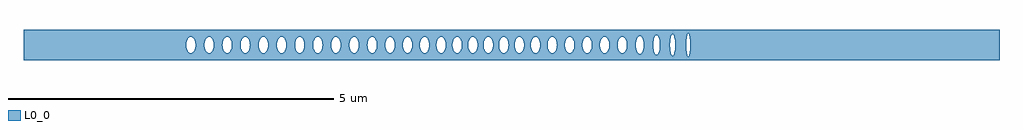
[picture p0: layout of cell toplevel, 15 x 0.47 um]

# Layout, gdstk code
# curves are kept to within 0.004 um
import gdstk
lib = gdstk.Library(unit=1e-6, precision=1e-09)
def P(c, l, *ps):  # polygons
    for p in ps: c.add(gdstk.Polygon(p, *l))
L0_0 = (0, 0)

toplevel = lib.new_cell('toplevel')
P(toplevel, L0_0, [(-4.441,0.016),(-4.431,0.068),(-4.404,0.112),(-4.404,0.234),(-7.5,0.234),(-7.5,-0.016),(-4.999,-0.016),(-4.996,0.039),(-4.985,0.075),(-4.962,0.112),(-4.927,0.128),(-4.9,0.119),(-4.877,0.093),(-4.859,0.047),(-4.855,-0.016),(-4.72,-0.016),(-4.718,0.032),(-4.707,0.075),(-4.683,0.112),(-4.648,0.128),(-4.621,0.119),(-4.602,0.098),(-4.587,0.068),(-4.576,0.016),(-4.579,-0.039),(-4.592,-0.081),(-4.621,-0.119),(-4.648,-0.128),(-4.675,-0.119),(-4.698,-0.093),(-4.712,-0.061),(-4.72,-0.016),(-4.855,-0.016),(-4.859,-0.047),(-4.877,-0.093),(-4.9,-0.119),(-4.927,-0.128),(-4.953,-0.119),(-4.973,-0.098),(-4.988,-0.068),(-4.999,-0.016),(-7.5,-0.016),(-7.5,-0.234),(-4.404,-0.234),(-4.404,-0.112),(-4.431,-0.068),(-4.441,-0.024)],
  [(-3.884,0.016),(-3.876,0.061),(-3.855,0.103),(-3.826,0.125),(-3.803,0.126),(-3.803,0.234),(-4.404,0.234),(-4.404,0.112),(-4.369,0.128),(-4.343,0.119),(-4.331,0.108),(-4.302,0.047),(-4.298,-0.016),(-4.163,-0.016),(-4.16,0.039),(-4.147,0.081),(-4.118,0.119),(-4.091,0.128),(-4.064,0.119),(-4.041,0.093),(-4.025,0.054),(-4.018,0),(-4.025,-0.054),(-4.041,-0.093),(-4.064,-0.119),(-4.091,-0.128),(-4.118,-0.119),(-4.137,-0.098),(-4.152,-0.068),(-4.163,-0.016),(-4.298,-0.016),(-4.308,-0.068),(-4.335,-0.112),(-4.369,-0.128),(-4.404,-0.112),(-4.404,-0.234),(-3.803,-0.234),(-3.803,-0.126),(-3.839,-0.119),(-3.862,-0.093),(-3.88,-0.047)],
  [(-3.803,0.234),(-3.803,0.126),(-3.777,0.112),(-3.756,0.081),(-3.743,0.039),(-3.74,-0.008),(-3.606,-0.008),(-3.601,0.047),(-3.583,0.093),(-3.56,0.119),(-3.534,0.128),(-3.507,0.119),(-3.487,0.098),(-3.472,0.068),(-3.461,0.008),(-3.466,-0.047),(-3.484,-0.093),(-3.507,-0.119),(-3.534,-0.128),(-3.56,-0.119),(-3.58,-0.098),(-3.595,-0.068),(-3.606,-0.008),(-3.74,-0.008),(-3.743,-0.039),(-3.759,-0.087),(-3.777,-0.112),(-3.803,-0.126),(-3.803,-0.234),(-3.185,-0.234),(-3.185,-0.035),(-3.196,-0.075),(-3.212,-0.103),(-3.228,-0.119),(-3.255,-0.128),(-3.282,-0.119),(-3.305,-0.093),(-3.321,-0.054),(-3.327,-0.016),(-3.325,0.032),(-3.314,0.075),(-3.294,0.108),(-3.269,0.125),(-3.241,0.125),(-3.216,0.108),(-3.196,0.075),(-3.185,0.032),(-3.185,0.234)],
  [(-2.478,-0.234),(-2.478,-0.075),(-2.492,0),(-2.478,0.074),(-2.478,0.234),(-3.185,0.234),(-3.183,-0.008),(-3.049,-0.008),(-3.044,0.047),(-3.026,0.093),(-3.003,0.119),(-2.976,0.128),(-2.942,0.112),(-2.918,0.075),(-2.906,0.032),(-2.905,-0.016),(-2.77,-0.016),(-2.767,0.039),(-2.754,0.081),(-2.733,0.112),(-2.698,0.128),(-2.671,0.119),(-2.648,0.093),(-2.63,0.047),(-2.625,0),(-2.63,-0.047),(-2.648,-0.093),(-2.671,-0.119),(-2.698,-0.128),(-2.724,-0.119),(-2.744,-0.098),(-2.759,-0.068),(-2.77,-0.016),(-2.905,-0.016),(-2.915,-0.068),(-2.93,-0.098),(-2.95,-0.119),(-2.976,-0.128),(-3.003,-0.119),(-3.023,-0.098),(-3.038,-0.068),(-3.049,-0.008),(-3.183,-0.008),(-3.185,-0.234)],
  [(-2.469,0.093),(-2.446,0.119),(-2.419,0.128),(-2.406,0.125),(-2.38,0.108),(-2.363,0.081),(-2.35,0.039),(-2.347,-0.008),(-2.214,-0.008),(-2.209,0.047),(-2.188,0.098),(-2.164,0.121),(-2.141,0.128),(-2.128,0.125),(-2.103,0.108),(-2.083,0.075),(-2.071,0.032),(-2.069,-0.008),(-2.074,-0.047),(-2.092,-0.093),(-2.115,-0.119),(-2.141,-0.128),(-2.168,-0.119),(-2.188,-0.098),(-2.203,-0.068),(-2.214,-0.008),(-2.347,-0.008),(-2.35,-0.039),(-2.366,-0.087),(-2.384,-0.112),(-2.406,-0.125),(-2.419,-0.128),(-2.446,-0.119),(-2.478,-0.075),(-2.478,-0.234),(-1.836,-0.234),(-1.836,-0.115),(-1.867,-0.128),(-1.902,-0.112),(-1.926,-0.075),(-1.939,-0.016),(-1.936,0.039),(-1.926,0.075),(-1.91,0.103),(-1.894,0.119),(-1.867,0.128),(-1.836,0.115),(-1.836,0.234),(-2.478,0.234),(-2.478,0.075)],
  [(-1.836,0.234),(-1.836,0.115),(-1.808,0.075),(-1.795,0),(-1.671,0),(-1.664,0.054),(-1.648,0.093),(-1.625,0.119),(-1.598,0.128),(-1.571,0.119),(-1.552,0.098),(-1.537,0.068),(-1.526,0.016),(-1.529,-0.039),(-1.542,-0.081),(-1.571,-0.119),(-1.598,-0.128),(-1.625,-0.119),(-1.648,-0.093),(-1.664,-0.054),(-1.671,0),(-1.795,0),(-1.808,-0.075),(-1.836,-0.115),(-1.836,-0.234),(-1.265,-0.234),(-1.265,-0.026),(-1.275,-0.068),(-1.29,-0.098),(-1.31,-0.119),(-1.336,-0.128),(-1.363,-0.119),(-1.383,-0.098),(-1.398,-0.068),(-1.409,-0.008),(-1.407,0.032),(-1.395,0.075),(-1.375,0.108),(-1.35,0.125),(-1.323,0.125),(-1.298,0.108),(-1.275,0.068),(-1.265,0.024),(-1.265,0.234)],
  [(-1.265,-0.234),(-0.629,-0.234),(-0.629,-0.112),(-0.653,-0.075),(-0.666,-0.016),(-0.664,0.032),(-0.653,0.075),(-0.629,0.112),(-0.629,0.234),(-1.265,0.234),(-1.264,-0.008),(-1.155,-0.008),(-1.15,0.047),(-1.132,0.093),(-1.109,0.119),(-1.082,0.128),(-1.047,0.112),(-1.026,0.081),(-1.013,0.039),(-1.01,-0.008),(-0.908,-0.008),(-0.903,0.047),(-0.885,0.093),(-0.862,0.119),(-0.835,0.128),(-0.809,0.119),(-0.789,0.098),(-0.774,0.068),(-0.763,0.016),(-0.766,-0.039),(-0.779,-0.081),(-0.8,-0.112),(-0.835,-0.128),(-0.862,-0.119),(-0.885,-0.093),(-0.903,-0.047),(-0.908,-0.008),(-1.01,-0.008),(-1.015,-0.047),(-1.033,-0.093),(-1.056,-0.119),(-1.082,-0.128),(-1.109,-0.119),(-1.132,-0.093),(-1.15,-0.047),(-1.155,-0.008),(-1.264,-0.008)],
  [(-0.19,0.016),(-0.18,0.068),(-0.157,0.108),(-0.145,0.119),(-0.119,0.128),(-0.096,0.121),(-0.096,0.234),(-0.629,0.234),(-0.629,0.112),(-0.594,0.128),(-0.567,0.119),(-0.555,0.108),(-0.528,0.054),(-0.522,-0.016),(-0.428,-0.016),(-0.425,0.039),(-0.412,0.081),(-0.391,0.112),(-0.356,0.128),(-0.329,0.119),(-0.306,0.093),(-0.29,0.054),(-0.283,0),(-0.29,-0.054),(-0.306,-0.093),(-0.329,-0.119),(-0.356,-0.128),(-0.382,-0.119),(-0.402,-0.098),(-0.417,-0.068),(-0.428,-0.016),(-0.522,-0.016),(-0.535,-0.075),(-0.559,-0.112),(-0.594,-0.128),(-0.629,-0.112),(-0.629,-0.234),(-0.096,-0.234),(-0.096,-0.121),(-0.119,-0.128),(-0.132,-0.125),(-0.165,-0.098),(-0.186,-0.047)],
  [(0.299,0.032),(0.31,0.075),(0.326,0.103),(0.342,0.119),(0.369,0.128),(0.395,0.119),(0.415,0.098),(0.43,0.068),(0.441,0.016),(0.441,0.234),(-0.096,0.234),(-0.096,0.121),(-0.072,0.098),(-0.057,0.068),(-0.047,0.024),(-0.047,-0.016),(0.049,-0.016),(0.052,0.039),(0.065,0.081),(0.094,0.119),(0.121,0.128),(0.148,0.119),(0.171,0.093),(0.185,0.061),(0.193,0.016),(0.191,-0.032),(0.18,-0.075),(0.156,-0.112),(0.121,-0.128),(0.094,-0.119),(0.075,-0.098),(0.06,-0.068),(0.049,-0.016),(-0.047,-0.016),(-0.06,-0.075),(-0.072,-0.098),(-0.096,-0.121),(-0.096,-0.234),(0.441,-0.234),(0.441,-0.016),(0.43,-0.068),(0.404,-0.112),(0.382,-0.125),(0.355,-0.125),(0.326,-0.103),(0.305,-0.061),(0.296,-0.008)],
  [(0.697,-0.032),(0.686,-0.075),(0.67,-0.103),(0.654,-0.119),(0.627,-0.128),(0.601,-0.119),(0.581,-0.098),(0.566,-0.068),(0.555,-0.016),(0.441,-0.016),(0.441,-0.234),(1.124,-0.234),(1.124,-0.108),(1.101,-0.068),(1.09,-0.008),(1.101,0.068),(1.124,0.108),(1.124,0.234),(0.441,0.234),(0.441,-0.016),(0.555,-0.016),(0.558,0.039),(0.571,0.081),(0.588,0.108),(0.614,0.125),(0.627,0.128),(0.654,0.119),(0.677,0.093),(0.693,0.054),(0.699,-0.008),(0.821,-0.008),(0.832,0.068),(0.855,0.108),(0.867,0.119),(0.894,0.128),(0.92,0.119),(0.932,0.108),(0.955,0.068),(0.966,-0.008),(0.955,-0.068),(0.94,-0.098),(0.92,-0.119),(0.894,-0.128),(0.867,-0.119),(0.855,-0.108),(0.832,-0.068),(0.821,-0.008),(0.699,-0.008)],
  [(1.631,0.016),(1.639,0.061),(1.66,0.103),(1.689,0.125),(1.716,0.125),(1.716,0.234),(1.124,0.234),(1.124,0.108),(1.136,0.119),(1.162,0.128),(1.189,0.119),(1.201,0.108),(1.23,0.047),(1.234,-0.016),(1.359,-0.016),(1.362,0.039),(1.375,0.081),(1.396,0.112),(1.431,0.128),(1.458,0.119),(1.481,0.093),(1.499,0.047),(1.504,0.008),(1.499,-0.047),(1.481,-0.093),(1.458,-0.119),(1.431,-0.128),(1.405,-0.119),(1.385,-0.098),(1.37,-0.068),(1.359,-0.016),(1.234,-0.016),(1.221,-0.075),(1.189,-0.119),(1.162,-0.128),(1.136,-0.119),(1.124,-0.108),(1.124,-0.234),(1.716,-0.234),(1.716,-0.125),(1.703,-0.128),(1.676,-0.119),(1.653,-0.093),(1.637,-0.054)],
  [(1.716,0.234),(1.716,0.125),(1.742,0.108),(1.759,0.081),(1.772,0.039),(1.774,-0.018),(1.91,-0.018),(1.914,0.052),(1.924,0.09),(1.942,0.123),(1.964,0.14),(1.988,0.136),(2.009,0.114),(2.027,0.068),(2.034,0.018),(2.03,-0.052),(2.02,-0.09),(1.999,-0.127),(1.98,-0.14),(1.953,-0.134),(1.932,-0.108),(1.914,-0.052),(1.91,-0.018),(1.774,-0.018),(1.756,-0.087),(1.738,-0.112),(1.716,-0.125),(1.716,-0.234),(2.276,-0.234),(2.276,-0.075),(2.255,-0.135),(2.237,-0.153),(2.22,-0.151),(2.194,-0.112),(2.178,-0.019),(2.184,0.074),(2.194,0.112),(2.217,0.149),(2.237,0.153),(2.249,0.143),(2.266,0.112),(2.276,0.074),(2.276,0.234)],
  [(7.5,-0.234),(7.5,0.234),(2.276,0.234),(2.281,-0.021),(2.435,-0.021),(2.436,0.042),(2.446,0.114),(2.461,0.155),(2.474,0.167),(2.485,0.164),(2.495,0.151),(2.511,0.098),(2.517,-0.034),(2.685,-0.034),(2.693,0.123),(2.701,0.158),(2.714,0.18),(2.726,0.171),(2.737,0.139),(2.748,0.023),(2.741,-0.115),(2.732,-0.158),(2.718,-0.18),(2.71,-0.177),(2.696,-0.139),(2.685,-0.034),(2.517,-0.034),(2.504,-0.129),(2.49,-0.159),(2.474,-0.167),(2.461,-0.155),(2.448,-0.122),(2.435,-0.021),(2.281,-0.021),(2.276,-0.234)])

lib.write_gds('toplevel.gds')
